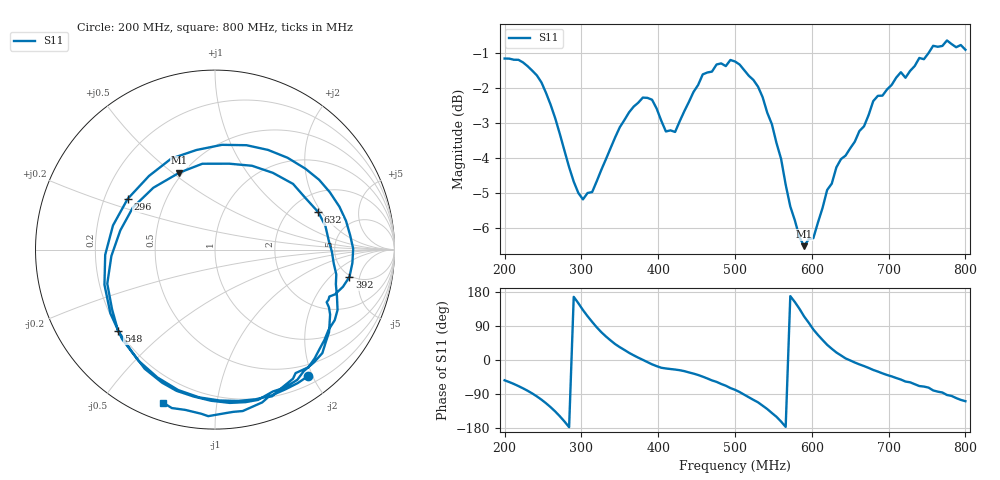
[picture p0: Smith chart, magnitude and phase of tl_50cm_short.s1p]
# HZ S RI R 50
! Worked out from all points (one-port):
!   101 points, 200 MHz to 800 MHz, reference 50 ohm
!   lowest |S11| = -6.5 dB at 590 MHz (marker M1), VSWR 2.79, Z = 23.9 + j26.4 ohm
!   |S11| at or under -10 dB: nowhere
!   S11 on the Smith chart (normalised r, x): 200 MHz: 0.32, -1.94; 296 MHz: 0.30, +0.25; 392 MHz: 4.84, -3.53; 548 MHz: 0.19, -0.35; 632 MHz: 2.80, +1.86; 800 MHz: 0.08, -0.71
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2e8  0.5198 -0.7041
2.24e8  0.2267 -0.8338
2.42e8  -0.0875 -0.8234
2.6e8  -0.427 -0.6184
2.78e8  -0.6159 -0.1958
2.96e8  -0.4869 0.2824
3.08e8  -0.2434 0.5073
3.2e8  0.0388 0.5837
3.5e8  0.58 0.389
3.68e8  0.7298 0.1604
3.92e8  0.7493 -0.1515
4.1e8  0.6371 -0.2617
4.28e8  0.635 -0.3225
4.58e8  0.5981 -0.5767
5e8  0.1703 -0.8499
5.3e8  -0.2954 -0.7412
5.48e8  -0.5394 -0.4549
5.6e8  -0.6001 -0.19
5.78e8  -0.4573 0.2349
5.9e8  -0.1992 0.4285
6.08e8  0.2066 0.467
6.32e8  0.5756 0.2084
6.5e8  0.6515 -0.0129
6.86e8  0.6672 -0.3929
7.28e8  0.4347 -0.7191
7.52e8  0.2631 -0.8513
7.58e8  0.1547 -0.8994
8e8  -0.2887 -0.8534
